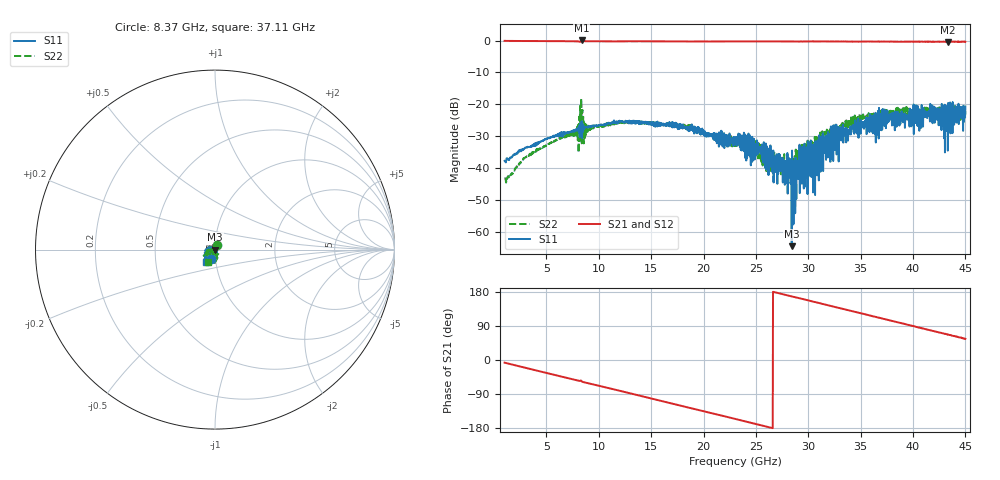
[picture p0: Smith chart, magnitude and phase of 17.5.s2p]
!Keysight Technologies,N5247B,MY61255062,A.19.80.06
!Date: Tuesday, May 26, 2026 11:52:04
!Correction: S11(C  2-Port  )
!S21(C  2-Port  )
!S12(C  2-Port  )
!S22(C  2-Port  )
!S2P File: Measurements: S11, S21, S12, S22:
# Hz S  dB  R 50
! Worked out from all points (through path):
!   1601 points, 1 GHz to 45 GHz, reference 50 ohm
!   highest |S21| = 0.05 dB at 8.342 GHz (marker M1); lowest = -0.4 dB at 43.35 GHz (marker M2)
!   group delay of S21, straight-line fit = 18.7 ps
!   lowest |S11| = -64.5 dB at 28.42 GHz (marker M3), VSWR 1.00, Z = 50 + j0.035 ohm
!   |S11| at or under -10 dB: start of sweep to end of sweep
!   |S22| runs from -44.6 to -18.1 dB; largest |S21 - S12| = 0.016
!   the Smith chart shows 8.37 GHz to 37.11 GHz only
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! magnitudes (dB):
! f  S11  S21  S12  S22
! 1 GHz  -37.7  -0.1  -0.1  -43.3
! 3.255 GHz  -33.4  -0.1  -0.1  -36.1
! 7.848 GHz  -28.2  -0.2  -0.2  -27.5
! 8.342 GHz  -26.1  0.1  0.1  -20.6
! 8.783 GHz  -27.1  -0.2  -0.2  -26.3
! 12.05 GHz  -25.2  -0.2  -0.2  -25.9
! 15.69 GHz  -25.9  -0.2  -0.2  -26.4
! 18.82 GHz  -27.5  -0.3  -0.3  -27.1
! 23 GHz  -30.5  -0.2  -0.2  -33.1
! 24.68 GHz  -37.8  -0.2  -0.2  -34.8
! 25.86 GHz  -32.4  -0.2  -0.3  -33.7
! 27.37 GHz  -40.9  -0.2  -0.2  -38.1
! 28.14 GHz  -42.4  -0.3  -0.3  -37.8
! 28.42 GHz  -64.5  -0.3  -0.3  -37.1
! 28.61 GHz  -44.9  -0.3  -0.3  -37.7
! 29.02 GHz  -42.6  -0.3  -0.3  -36.6
! 29.57 GHz  -46.4  -0.3  -0.3  -33.3
! 30.34 GHz  -34.0  -0.3  -0.3  -31.6
! 33.15 GHz  -31.3  -0.3  -0.3  -28.0
! 37.69 GHz  -24.0  -0.3  -0.3  -24.3
! 43.35 GHz  -19.6  -0.4  -0.3  -22.7
! 45 GHz  -20.7  -0.3  -0.3  -22.2
